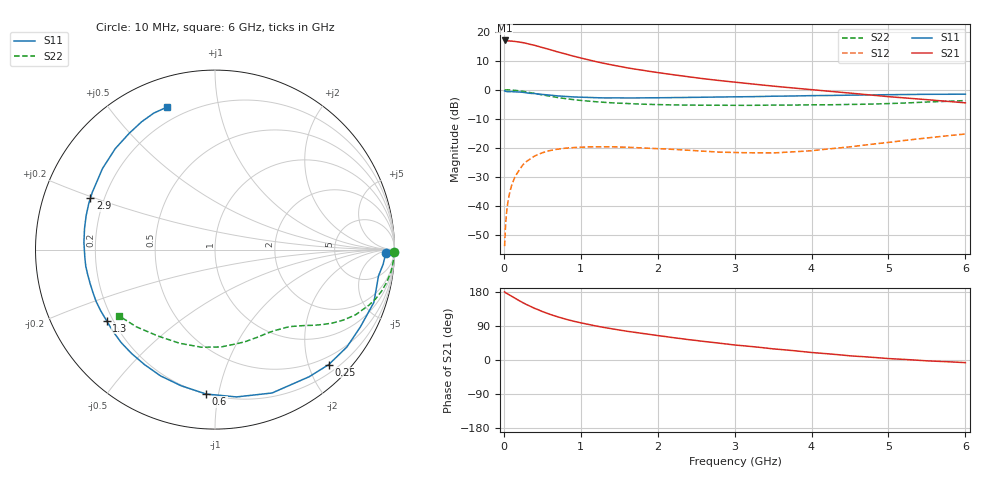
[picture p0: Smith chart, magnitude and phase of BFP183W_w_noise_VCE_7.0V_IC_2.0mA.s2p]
! Infineon Technologies  Discrete & RF Semiconductors
! BFP183W
! VCE =  7.0 V,  IC =  2.0 mA
! Common Emitter S-Parameters:  Jan 2017
# GHz  S  MA  R  50
!  f  S11  S21  S12  S22
! GHz  MAG  ANG  MAG  ANG  MAG  ANG  MAG  ANG
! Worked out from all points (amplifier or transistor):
!   77 points, 10 MHz to 6 GHz, reference 50 ohm
!   highest |S21| = 17.0 dB at 10 MHz (marker M1)
!   |S21| within 3 dB of that: start of sweep to 577.4 MHz
!   unconditionally stable (mu >= 1): 2.813 GHz to 4.707 GHz
!   at 130 MHz: K = 0.05, MSG = 23.9 dB, |S12| = -31.0 dB
!   at 2.2 GHz: K = 0.77, MSG = 12.9 dB, |S12| = -20.6 dB
!   at 6 GHz: K = 0.75, MSG = 5.4 dB, |S12| = -15.3 dB
!   lowest NFmin = 0.76 dB at 450 MHz
!   S11 on the Smith chart (normalised r, x): 10 MHz: 37, -13; 250 MHz: 0.35, -2.35; 600 MHz: 0.20, -0.92; 1.3 GHz: 0.18, -0.29; 2.9 GHz: 0.15, +0.19; 6 GHz: 0.13, +0.71
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0.01  0.9529 -1.0  7.073 180.0  0.002 89.9  1 -0.8
0.02  0.9399 -5.1  7.06 177.7  0.004 98.2  0.9941 -1.6
0.03  0.9337 -6.4  7.029 176.6  0.0063 90.6  0.9945 -2.3
0.07  0.9238 -12.8  6.937 172.0  0.0153 82.3  0.9924 -5.0
0.15  0.9174 -27.9  6.79 162.6  0.0323 73.5  0.9738 -10.8
0.25  0.9011 -45.3  6.48 151.0  0.0511 64.8  0.9359 -17.1
0.3  0.8816 -53.4  6.26 145.8  0.0584 60.4  0.9116 -19.9
0.4  0.8598 -68.3  5.834 136.3  0.0717 52.2  0.8633 -24.9
0.5  0.8295 -81.7  5.347 128.0  0.0818 45.7  0.8154 -28.8
0.6  0.8062 -93.5  4.912 120.5  0.0893 39.7  0.772 -32.0
0.7  0.7818 -104.0  4.488 113.9  0.0943 35.0  0.7341 -34.6
0.8  0.7662 -113.3  4.14 108.0  0.098 31.0  0.7025 -36.8
0.9  0.7515 -121.5  3.807 102.7  0.1003 27.3  0.6754 -38.7
1.1  0.736 -135.3  3.276 93.9  0.1031 22.1  0.6359 -41.9
1.3  0.7222 -146.8  2.854 86.0  0.1033 17.8  0.6065 -44.9
1.6  0.7208 -160.9  2.39 75.9  0.1018 13.7  0.5789 -49.5
2.1  0.7278 -179.9  1.893 61.9  0.0949 11.3  0.5499 -57.8
2.9  0.7508 157.6  1.395 42.1  0.0832 16.0  0.5388 -73.5
3.1  0.7558 153.0  1.309 37.8  0.0821 19.2  0.5379 -77.7
4.1  0.7923 132.9  0.975 18.2  0.0915 37.8  0.5487 -100.5
5.1  0.8231 118.7  0.741 2.7  0.128 46.6  0.5825 -126.1
6  0.8379 108.6  0.593 -7.0  0.1722 45.0  0.6503 -145.5
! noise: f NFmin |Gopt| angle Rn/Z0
0.45  0.76  0.48  45  0.22
0.9  0.95  0.41  86  0.19
1.9  1.77  0.52  156  0.09
2.4  2.08  0.55  173  0.09
